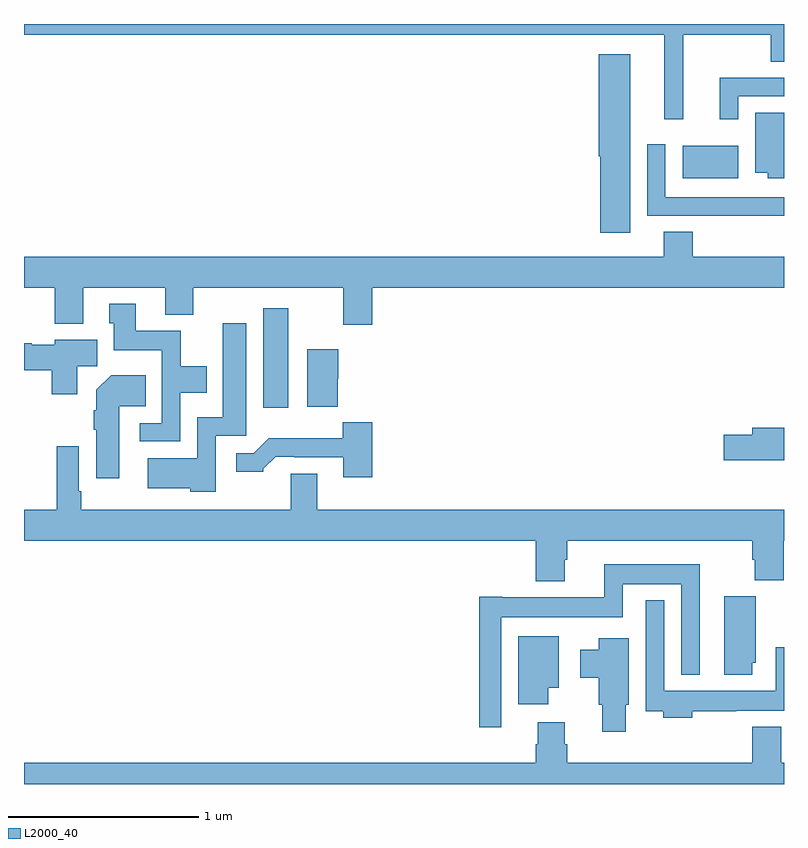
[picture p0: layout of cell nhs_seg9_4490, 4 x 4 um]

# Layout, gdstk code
import gdstk
lib = gdstk.Library(unit=1e-6, precision=1e-09)
def R(c, l, rs):  # rectangles x0, y0, x1, y1
    for r in rs: c.add(gdstk.rectangle(r[:2], r[2:], *l))
def P(c, l, *ps):  # polygons
    for p in ps: c.add(gdstk.Polygon(p, *l))
L2000_40 = (2000, 40)

nhs_seg9_4490 = lib.new_cell('nhs_seg9_4490')
R(nhs_seg9_4490, L2000_40, [(370.259,1170.48,370.39,1171.003), (372.467,1171.688,372.76,1171.858)])
P(nhs_seg9_4490, L2000_40, [(372.931,1172.302),(373,1172.302),(373,1172.5),(369,1172.5),(369,1172.444),(372.371,1172.444),(372.371,1171.998),(372.47,1171.998),(372.47,1172.444),(372.931,1172.444)],
  [(372.19,1172.341),(372.026,1172.341),(372.026,1171.803),(372.032,1171.803),(372.032,1171.401),(372.19,1171.401)],
  [(372.759,1172.121),(373,1172.121),(373,1172.217),(372.662,1172.217),(372.662,1171.998),(372.759,1171.998)],
  [(373,1172.032),(372.848,1172.032),(372.848,1171.718),(372.914,1171.718),(372.914,1171.688),(373,1171.688)],
  [(373,1171.587),(372.375,1171.587),(372.375,1171.867),(372.279,1171.867),(372.279,1171.491),(372.604,1171.491),(372.604,1171.49),(373,1171.49)],
  [(370.832,1171.112),(373,1171.112),(373,1171.276),(372.521,1171.276),(372.521,1171.406),(372.368,1171.406),(372.368,1171.276),(369,1171.276),(369,1171.112),(369.161,1171.112),(369.161,1170.923),(369.313,1170.923),(369.313,1171.112),(369.743,1171.112),(369.743,1170.971),(369.891,1170.971),(369.891,1171.112),(370.679,1171.112),(370.679,1170.918),(370.832,1170.918)],
  [(369.822,1170.56),(369.961,1170.56),(369.961,1170.7),(369.825,1170.7),(369.825,1170.886),(369.589,1170.886),(369.589,1171.027),(369.449,1171.027),(369.449,1170.924),(369.473,1170.924),(369.473,1170.782),(369.726,1170.782),(369.726,1170.399),(369.609,1170.399),(369.609,1170.303),(369.822,1170.303)],
  [(370.008,1170.333),(370.171,1170.333),(370.171,1170.925),(370.046,1170.925),(370.046,1170.43),(369.912,1170.43),(369.912,1170.214),(369.651,1170.214),(369.651,1170.056),(369.876,1170.056),(369.876,1170.038),(370.008,1170.038)],
  [(369.28,1170.7),(369.385,1170.7),(369.385,1170.838),(369.162,1170.838),(369.162,1170.811),(369.042,1170.811),(369.042,1170.819),(369,1170.819),(369,1170.677),(369.146,1170.677),(369.146,1170.552),(369.28,1170.552)],
  [(370.652,1170.633),(370.654,1170.633),(370.654,1170.787),(370.49,1170.787),(370.49,1170.485),(370.652,1170.485)],
  [(369.502,1170.488),(369.641,1170.488),(369.641,1170.652),(369.458,1170.652),(369.38,1170.574),(369.38,1170.467),(369.368,1170.467),(369.368,1170.364),(369.38,1170.364),(369.38,1170.108),(369.502,1170.108)],
  [(370.832,1170.403),(370.677,1170.403),(370.677,1170.319),(370.288,1170.319),(370.209,1170.24),(370.116,1170.24),(370.116,1170.143),(370.26,1170.143),(370.26,1170.158),(370.324,1170.222),(370.423,1170.222),(370.423,1170.219),(370.679,1170.219),(370.679,1170.114),(370.832,1170.114)],
  [(373,1170.374),(372.833,1170.374),(372.833,1170.338),(372.684,1170.338),(372.684,1170.203),(373,1170.203)],
  [(370.543,1170.134),(370.403,1170.134),(370.403,1169.944),(369.301,1169.944),(369.301,1170.04),(369.288,1170.04),(369.288,1170.277),(369.172,1170.277),(369.172,1169.944),(369,1169.944),(369,1169.78),(371.693,1169.78),(371.693,1169.567),(371.845,1169.567),(371.845,1169.679),(371.858,1169.679),(371.858,1169.78),(372.833,1169.78),(372.833,1169.681),(372.845,1169.681),(372.845,1169.572),(372.998,1169.572),(372.998,1169.78),(373,1169.78),(373,1169.944),(370.543,1169.944)],
  [(371.511,1169.378),(372.15,1169.378),(372.15,1169.552),(372.459,1169.552),(372.459,1169.075),(372.556,1169.075),(372.556,1169.656),(372.053,1169.656),(372.053,1169.482),(371.518,1169.482),(371.518,1169.485),(371.395,1169.485),(371.395,1168.8),(371.511,1168.8)],
  [(372.832,1169.139),(372.85,1169.139),(372.85,1169.487),(372.686,1169.487),(372.686,1169.076),(372.832,1169.076)],
  [(372.518,1168.884),(372.749,1168.884),(372.749,1168.886),(373,1168.886),(373,1169.221),(372.957,1169.221),(372.957,1168.99),(372.369,1168.99),(372.369,1169.467),(372.273,1169.467),(372.273,1168.884),(372.365,1168.884),(372.365,1168.85),(372.518,1168.85)],
  [(371.758,1169.006),(371.815,1169.006),(371.815,1169.278),(371.6,1169.278),(371.6,1168.92),(371.758,1168.92)],
  [(372.166,1168.917),(372.184,1168.917),(372.184,1169.266),(372.026,1169.266),(372.026,1169.206),(371.927,1169.206),(371.927,1169.059),(372.026,1169.059),(372.026,1168.917),(372.044,1168.917),(372.044,1168.776),(372.166,1168.776)],
  [(373,1168.612),(372.985,1168.612),(372.985,1168.801),(372.833,1168.801),(372.833,1168.612),(371.858,1168.612),(371.858,1168.71),(371.845,1168.71),(371.845,1168.825),(371.705,1168.825),(371.705,1168.71),(371.693,1168.71),(371.693,1168.612),(369,1168.612),(369,1168.5),(373,1168.5)])

lib.write_gds('nhs_seg9_4490.gds')
